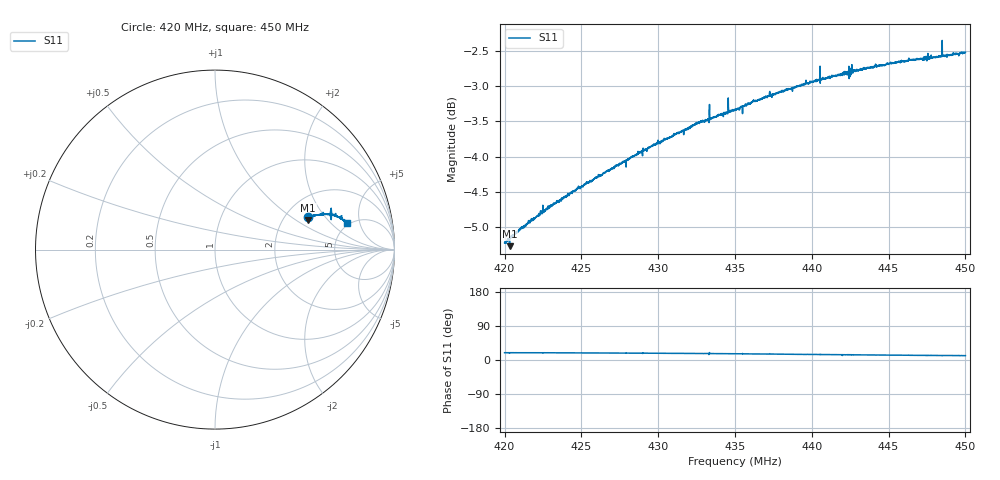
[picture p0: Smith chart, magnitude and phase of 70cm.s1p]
! Calibrated averaged scanner-service zoom
# Hz S RI R 50
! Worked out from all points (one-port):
!   3001 points, 420 MHz to 450 MHz, reference 50 ohm
!   lowest |S11| = -5.3 dB at 420.3 MHz (marker M1), VSWR 3.39, Z = 136 + j64 ohm
!   |S11| at or under -10 dB: nowhere
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4.2e8  0.5174 0.1802
4.2032e8  0.5189 0.1657
4.2173e8  0.5365 0.1874
4.2375e8  0.5575 0.1913
4.275e8  0.5923 0.1963
4.3125e8  0.6259 0.1964
4.3251e8  0.6363 0.1969
4.3311e8  0.6398 0.1975
4.3316e8  0.6405 0.1971
4.3319e8  0.6403 0.196
4.3343e8  0.642 0.1971
4.3347e8  0.6428 0.1958
4.3351e8  0.6424 0.1958
4.3438e8  0.6484 0.1939
4.3469e8  0.6508 0.1942
4.35e8  0.6535 0.1939
4.3621e8  0.6656 0.1908
4.3708e8  0.6697 0.1883
4.3713e8  0.6708 0.1884
4.3737e8  0.6708 0.188
4.3745e8  0.6725 0.1891
4.3875e8  0.6815 0.1841
4.406e8  0.6936 0.1779
4.425e8  0.6984 0.1718
4.4427e8  0.7121 0.1671
4.4625e8  0.721 0.1597
4.4745e8  0.7259 0.1556
4.5e8  0.7336 0.1486
